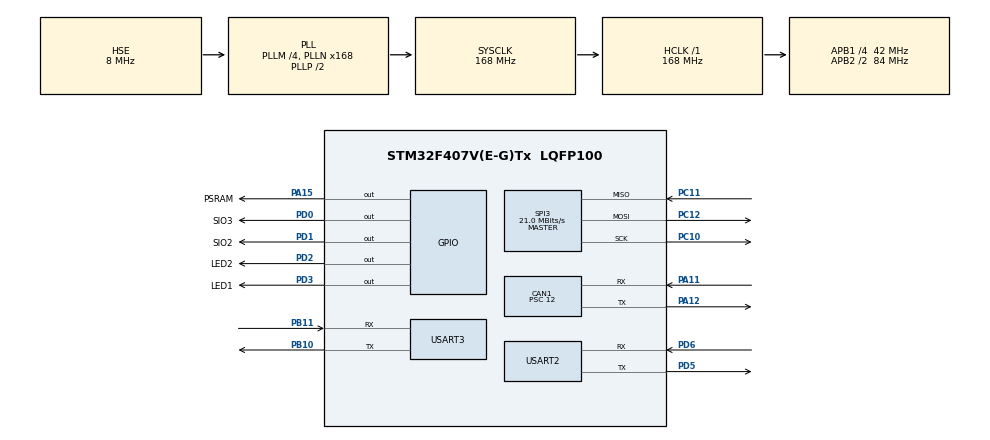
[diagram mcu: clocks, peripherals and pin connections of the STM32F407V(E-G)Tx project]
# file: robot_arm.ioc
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CAN1.ABOM=ENABLE
CAN1.BS1=CAN_BS1_11TQ
CAN1.BS2=CAN_BS2_2TQ
CAN1.CalculateBaudRate=250000
CAN1.CalculateTimeBit=4000
CAN1.CalculateTimeQuantum=285.7142857142857
CAN1.NART=ENABLE
CAN1.Prescaler=12
Dma.Request0=USART2_RX
Dma.USART2_RX.0.Direction=DMA_PERIPH_TO_MEMORY
Dma.USART2_RX.0.FIFOMode=DMA_FIFOMODE_DISABLE
Dma.USART2_RX.0.Instance=DMA1_Stream5
Dma.USART2_RX.0.MemDataAlignment=DMA_MDATAALIGN_BYTE
Dma.USART2_RX.0.MemInc=DMA_MINC_ENABLE
Dma.USART2_RX.0.Mode=DMA_NORMAL
Dma.USART2_RX.0.PeriphDataAlignment=DMA_PDATAALIGN_BYTE
Dma.USART2_RX.0.PeriphInc=DMA_PINC_DISABLE
Dma.USART2_RX.0.Priority=DMA_PRIORITY_MEDIUM
FREERTOS.BinarySemaphores01=servo_rx_sem,Dynamic,NULL,Available
FREERTOS.Queues01=CMD_Queue,16,CmdMsg_t,0,Dynamic,NULL,NULL;Status_Queue,16,ServoMsg_t,0,Dynamic,NULL,NULL
FREERTOS.Tasks01=defaultTask,24,128,StartDefaultTask,Default,NULL,Dynamic,NULL,NULL;led_running_tas,8,128,led_running,Default,NULL,Dynamic,NULL,NULL;CAN_Rx_Task,51,512,CAN_Rx_task,Default,NULL,Dynamic,NULL,NULL;CAN_Tx_Task,50,512,CAN_Tx_task,Default,NULL,Dynamic,NULL,NULL;UART_Task,49,512,UART_task,Default,NULL,Dynamic,NULL,NULL
Mcu.Family=STM32F4
Mcu.Name=STM32F407V(E-G)Tx
Mcu.Package=LQFP100
NVIC.CAN1_RX0_IRQn=true\:5\:0\:false\:false\:true\:true\:true\:true\:true
NVIC.DMA1_Stream5_IRQn=true\:5\:0\:false\:false\:true\:true\:false\:true\:true
NVIC.PriorityGroup=NVIC_PRIORITYGROUP_4
NVIC.TIM6_DAC_IRQn=true\:15\:0\:false\:false\:true\:false\:false\:true\:true
NVIC.TimeBase=TIM6_DAC_IRQn
NVIC.TimeBaseIP=TIM6
NVIC.USART2_IRQn=true\:5\:0\:false\:false\:true\:true\:true\:true\:true
NVIC.USART3_IRQn=true\:5\:0\:false\:false\:true\:true\:true\:true\:true
PA11.Mode=CAN_Activate
PA11.Signal=CAN1_RX
PA12.Mode=CAN_Activate
PA12.Signal=CAN1_TX
PA13.Mode=Serial_Wire
PA13.Signal=SYS_JTMS-SWDIO
PA14.Mode=Serial_Wire
PA14.Signal=SYS_JTCK-SWCLK
PA15.GPIO_Label=PSRAM
PA15.GPIO_PuPd=GPIO_PULLUP
PA15.GPIO_Speed=GPIO_SPEED_FREQ_VERY_HIGH
PA15.Signal=GPIO_Output
PB10.Mode=Asynchronous
PB10.Signal=USART3_TX
PB11.Mode=Asynchronous
PB11.Signal=USART3_RX
PC10.Mode=Full_Duplex_Master
PC10.Signal=SPI3_SCK
PC11.GPIO_PuPd=GPIO_NOPULL
PC11.Mode=Full_Duplex_Master
PC11.Signal=SPI3_MISO
PC12.GPIO_PuPd=GPIO_NOPULL
PC12.Mode=Full_Duplex_Master
PC12.Signal=SPI3_MOSI
PD0.GPIO_Label=SIO3
PD0.GPIO_PuPd=GPIO_PULLUP
PD0.PinState=GPIO_PIN_SET
PD0.Signal=GPIO_Output
PD1.GPIO_Label=SIO2
PD1.GPIO_PuPd=GPIO_PULLUP
PD1.PinState=GPIO_PIN_SET
PD1.Signal=GPIO_Output
PD2.GPIO_Label=LED2
PD2.GPIO_PuPd=GPIO_PULLUP
PD2.PinState=GPIO_PIN_RESET
PD2.Signal=GPIO_Output
PD3.GPIO_Label=LED1
PD3.GPIO_PuPd=GPIO_PULLUP
PD3.PinState=GPIO_PIN_SET
PD3.Signal=GPIO_Output
PD5.GPIO_PuPd=GPIO_PULLUP
PD5.Mode=Asynchronous
PD5.Signal=USART2_TX
PD6.Mode=Asynchronous
PD6.Signal=USART2_RX
PH0-OSC_IN.Mode=HSE-External-Oscillator
PH0-OSC_IN.Signal=RCC_OSC_IN
PH1-OSC_OUT.Mode=HSE-External-Oscillator
PH1-OSC_OUT.Signal=RCC_OSC_OUT
ProjectManager.HeapSize=0x200
ProjectManager.StackSize=0x400
ProjectManager.TargetToolchain=CMake
RCC.48MHZClocksFreq_Value=84000000
RCC.AHBFreq_Value=168000000
RCC.APB1CLKDivider=RCC_HCLK_DIV4
RCC.APB1Freq_Value=42000000
RCC.APB1TimFreq_Value=84000000
RCC.APB2CLKDivider=RCC_HCLK_DIV2
RCC.APB2Freq_Value=84000000
RCC.APB2TimFreq_Value=168000000
RCC.CortexFreq_Value=168000000
RCC.HCLKFreq_Value=168000000
RCC.HSE_VALUE=8000000
RCC.HSI_VALUE=16000000
RCC.LSE_VALUE=32768
RCC.PLLM=4
RCC.PLLN=168
RCC.PLLSourceVirtual=RCC_PLLSOURCE_HSE
RCC.SYSCLKFreq_VALUE=168000000
RCC.SYSCLKSource=RCC_SYSCLKSOURCE_PLLCLK
RCC.VCOOutputFreq_Value=336000000
SPI3.BaudRatePrescaler=SPI_BAUDRATEPRESCALER_2
SPI3.CalculateBaudRate=21.0 MBits/s
SPI3.Direction=SPI_DIRECTION_2LINES
SPI3.Mode=SPI_MODE_MASTER
SPI3.VirtualType=VM_MASTER
USART2.VirtualMode=VM_ASYNC
USART3.VirtualMode=VM_ASYNC
VP_FREERTOS_VS_CMSIS_V2.Mode=CMSIS_V2
VP_SYS_VS_tim6.Mode=TIM6
board=custom

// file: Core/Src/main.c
/* USER CODE BEGIN Header */
/**
  ******************************************************************************
  * @file           : main.c
  * @brief          : Main program body
  ******************************************************************************
  * @attention
  *
  * Copyright (c) 2026 STMicroelectronics.
  * All rights reserved.
  *
  * This software is licensed under terms that can be found in the LICENSE file
  * in the root directory of this software component.
  * If no LICENSE file comes with this software, it is provided AS-IS.
  *
  ******************************************************************************
  */
/* USER CODE END Header */
#include "main.h"
#include "cmsis_os.h"
#include "can.h"
#include "dma.h"
#include "spi.h"
#include "usart.h"
#include "gpio.h"

/* USER CODE BEGIN Includes */
#include <string.h>
#include <stdio.h>
#include "robot_arm.h"
#include "aps6404.h"
/* USER CODE END Includes */

void SystemClock_Config(void);
void MX_FREERTOS_Init(void);

int main(void)
{

  /* MCU Configuration--------------------------------------------------------*/

  /* Reset of all peripherals, Initializes the Flash interface and the Systick. */
  HAL_Init();

  /* Configure the system clock */
  SystemClock_Config();

  /* Initialize all configured peripherals */
  MX_GPIO_Init();
  MX_DMA_Init();
  MX_CAN1_Init();
  MX_USART3_UART_Init();
  MX_USART2_UART_Init();
  MX_SPI3_Init();
  /* USER CODE BEGIN 2 */
  if (CAN_Init() != HAL_OK)
  {
      Error_Handler();
  }

  robot_arm_init();
  HAL_Delay(2000);

  /* USER CODE END 2 */

  /* Init scheduler */
  osKernelInitialize();  /* Call init function for freertos objects (in cmsis_os2.c) */
  MX_FREERTOS_Init();

  /* Start scheduler */
  osKernelStart();

  /* We should never get here as control is now taken by the scheduler */

  /* Infinite loop */
  while (1)
  {

    /* USER CODE BEGIN 3 */

    HAL_Delay(1000);
  }
  /* USER CODE END 3 */
}

void SystemClock_Config(void)
{
  RCC_OscInitTypeDef RCC_OscInitStruct = {0};
  RCC_ClkInitTypeDef RCC_ClkInitStruct = {0};

  /** Configure the main internal regulator output voltage
  */
  __HAL_RCC_PWR_CLK_ENABLE();
  __HAL_PWR_VOLTAGESCALING_CONFIG(PWR_REGULATOR_VOLTAGE_SCALE1);

  /** Initializes the RCC Oscillators according to the specified parameters
  * in the RCC_OscInitTypeDef structure.
  */
  RCC_OscInitStruct.OscillatorType = RCC_OSCILLATORTYPE_HSE;
  RCC_OscInitStruct.HSEState = RCC_HSE_ON;
  RCC_OscInitStruct.PLL.PLLState = RCC_PLL_ON;
  RCC_OscInitStruct.PLL.PLLSource = RCC_PLLSOURCE_HSE;
  RCC_OscInitStruct.PLL.PLLM = 4;
  RCC_OscInitStruct.PLL.PLLN = 168;
  RCC_OscInitStruct.PLL.PLLP = RCC_PLLP_DIV2;
  RCC_OscInitStruct.PLL.PLLQ = 4;
  if (HAL_RCC_OscConfig(&RCC_OscInitStruct) != HAL_OK)
  {
    Error_Handler();
  }

  /** Initializes the CPU, AHB and APB buses clocks
  */
  RCC_ClkInitStruct.ClockType = RCC_CLOCKTYPE_HCLK|RCC_CLOCKTYPE_SYSCLK
                              |RCC_CLOCKTYPE_PCLK1|RCC_CLOCKTYPE_PCLK2;
  RCC_ClkInitStruct.SYSCLKSource = RCC_SYSCLKSOURCE_PLLCLK;
  RCC_ClkInitStruct.AHBCLKDivider = RCC_SYSCLK_DIV1;
  RCC_ClkInitStruct.APB1CLKDivider = RCC_HCLK_DIV4;
  RCC_ClkInitStruct.APB2CLKDivider = RCC_HCLK_DIV2;

  if (HAL_RCC_ClockConfig(&RCC_ClkInitStruct, FLASH_LATENCY_5) != HAL_OK)
  {
    Error_Handler();
  }
}

void HAL_TIM_PeriodElapsedCallback(TIM_HandleTypeDef *htim)
{
  if (htim->Instance == TIM6)
  {
    HAL_IncTick();
  }
}

void Error_Handler(void)
{
  __disable_irq();
  while (1)
  {
  }
}

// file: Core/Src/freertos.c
/* USER CODE BEGIN Header */
/**
  ******************************************************************************
  * File Name          : freertos.c
  * Description        : Code for freertos applications
  ******************************************************************************
  * @attention
  *
  * Copyright (c) 2026 STMicroelectronics.
  * All rights reserved.
  *
  * This software is licensed under terms that can be found in the LICENSE file
  * in the root directory of this software component.
  * If no LICENSE file comes with this software, it is provided AS-IS.
  *
  ******************************************************************************
  */
/* USER CODE END Header */

#include "FreeRTOS.h"
#include "task.h"
#include "main.h"
#include "cmsis_os.h"

/* USER CODE BEGIN Includes */
#include "can.h"
#include "robot_arm.h"
#include <stdio.h>
#include <stdlib.h>
#include <string.h>
/* USER CODE END Includes */

/* Definitions for defaultTask */
osThreadId_t defaultTaskHandle;
const osThreadAttr_t defaultTask_attributes = {
  .name = "defaultTask",
  .stack_size = 128 * 4,
  .priority = (osPriority_t) osPriorityNormal,
};
/* Definitions for led_running_tas */
osThreadId_t led_running_tasHandle;
const osThreadAttr_t led_running_tas_attributes = {
  .name = "led_running_tas",
  .stack_size = 128 * 4,
  .priority = (osPriority_t) osPriorityLow,
};
/* Definitions for CAN_Rx_Task */
osThreadId_t CAN_Rx_TaskHandle;
const osThreadAttr_t CAN_Rx_Task_attributes = {
  .name = "CAN_Rx_Task",
  .stack_size = 512 * 4,
  .priority = (osPriority_t) osPriorityRealtime3,
};
/* Definitions for CAN_Tx_Task */
osThreadId_t CAN_Tx_TaskHandle;
const osThreadAttr_t CAN_Tx_Task_attributes = {
  .name = "CAN_Tx_Task",
  .stack_size = 512 * 4,
  .priority = (osPriority_t) osPriorityRealtime2,
};
/* Definitions for UART_Task */
osThreadId_t UART_TaskHandle;
const osThreadAttr_t UART_Task_attributes = {
  .name = "UART_Task",
  .stack_size = 512 * 4,
  .priority = (osPriority_t) osPriorityRealtime1,
};
/* Definitions for CMD_Queue */
osMessageQueueId_t CMD_QueueHandle;
const osMessageQueueAttr_t CMD_Queue_attributes = {
  .name = "CMD_Queue"
};
/* Definitions for Status_Queue */
osMessageQueueId_t Status_QueueHandle;
const osMessageQueueAttr_t Status_Queue_attributes = {
  .name = "Status_Queue"
};
/* Definitions for servo_rx_sem */
osSemaphoreId_t servo_rx_semHandle;
const osSemaphoreAttr_t servo_rx_sem_attributes = {
  .name = "servo_rx_sem"
};

void StartDefaultTask(void *argument);
void led_running(void *argument);
void CAN_Rx_task(void *argument);
void CAN_Tx_task(void *argument);
void UART_task(void *argument);

void MX_FREERTOS_Init(void); /* (MISRA C 2004 rule 8.1) */

void MX_FREERTOS_Init(void) {

  /* Create the semaphores(s) */
  /* creation of servo_rx_sem */
  servo_rx_semHandle = osSemaphoreNew(1, 1, &servo_rx_sem_attributes);

  /* USER CODE BEGIN RTOS_SEMAPHORES */
  /* add semaphores, ... */
  while (osSemaphoreAcquire(servo_rx_semHandle, 0) == osOK) { }
  /* USER CODE END RTOS_SEMAPHORES */

  /* Create the queue(s) */
  /* creation of CMD_Queue */
  CMD_QueueHandle = osMessageQueueNew (16, sizeof(CmdMsg_t), &CMD_Queue_attributes);

  /* creation of Status_Queue */
  Status_QueueHandle = osMessageQueueNew (16, sizeof(ServoMsg_t), &Status_Queue_attributes);

  /* Create the thread(s) */
  /* creation of defaultTask */
  defaultTaskHandle = osThreadNew(StartDefaultTask, NULL, &defaultTask_attributes);

  /* creation of led_running_tas */
  led_running_tasHandle = osThreadNew(led_running, NULL, &led_running_tas_attributes);

  /* creation of CAN_Rx_Task */
  CAN_Rx_TaskHandle = osThreadNew(CAN_Rx_task, NULL, &CAN_Rx_Task_attributes);

  /* creation of CAN_Tx_Task */
  CAN_Tx_TaskHandle = osThreadNew(CAN_Tx_task, NULL, &CAN_Tx_Task_attributes);

  /* creation of UART_Task */
  UART_TaskHandle = osThreadNew(UART_task, NULL, &UART_Task_attributes);

}

void StartDefaultTask(void *argument)
{
  for(;;)
  {
    osDelay(1);
  }
}

void led_running(void *argument)
{
  /* USER CODE BEGIN led_running */
  /* Infinite loop */
  for(;;)
  {
    HAL_GPIO_TogglePin(LED1_GPIO_Port,LED1_Pin);
    osDelay(300);
  }
  /* USER CODE END led_running */
}

void CAN_Rx_task(void *argument)
{
  /* USER CODE BEGIN CAN_Rx_task */
  CAN_Frame_t frame;
  CmdMsg_t cmd;
  /* Infinite loop */
  for(;;)
  {
    if(CAN_GetRxFrame(&frame) == 0){
      osDelay(1);
      continue;
    }
    if(frame.id != CAN_ID_CMD_DOWN) continue;

    if(frame.len < 6)continue;

    if(frame.data[0] > SEVRO_NUMBER) continue;

    cmd.id  = frame.data[0];
    cmd.ask = frame.data[1];
    cmd.target_pos = (uint16_t)(frame.data[2] | (frame.data[3] << 8));
    cmd.time       = (uint16_t)(frame.data[4] | (frame.data[5] << 8));

    if (osMessageQueuePut(CMD_QueueHandle, &cmd, 0U, 0U) != osOK)
    {
      //cmd_drop++;
    }

  }
  /* USER CODE END CAN_Rx_task */
}

void CAN_Tx_task(void *argument)
{
  /* USER CODE BEGIN CAN_Tx_task */
  ServoMsg_t *st = malloc(sizeof(ServoMsg_t));
  uint8_t pkg[8];
  /* Infinite loop */
  for(;;)
  {
    if(osMessageQueueGet(Status_QueueHandle,st,NULL,portMAX_DELAY) == osOK){

      memset(pkg,0,sizeof(pkg));
      CAN_Servo_status_send_pkg(st,pkg);
      CAN_Send(GETANGLE,(uint8_t*)pkg,8);

    }
    osDelay(1);
  }
  /* USER CODE END CAN_Tx_task */
}

/* USER CODE BEGIN Header_UART_task */
#define SEVRO_NUMBER 5

static uint8_t  temp_div = 0;
static double   last_temp[SEVRO_NUMBER + 1] = {0};
static double   last_volt[SEVRO_NUMBER + 1] = {0};
/**
* @brief Function implementing the UART_Task thread.
* @param argument: Not used
* @retval None
*/
/* USER CODE END Header_UART_task */
void UART_task(void *argument)
{
  /* USER CODE BEGIN UART_task */
  ServoMsg_t *st = malloc(sizeof(ServoMsg_t));
  CmdMsg_t cmd;
  double _temp_v[2];
  memset(_temp_v,0,sizeof(_temp_v));
  static uint32_t quiet_until = 0;
  Servo_cache_init();
  /* Infinite loop */
  for(;;)
  {
    if(osMessageQueueGet(CMD_QueueHandle,&cmd,NULL,portMAX_DELAY) == osOK){
      switch(cmd.ask){
        case ASKFORSETPOS:{
          Servo_position_set(cmd.id,cmd.target_pos,cmd.time);
          quiet_until = osKernelGetTickCount() + 300U;
          break;
        }
        case ASKFORSTATUS:{
            st->id = cmd.id;

            if ((int32_t)(quiet_until - osKernelGetTickCount()) > 0) {
                uint16_t p = 0;
                Servo_cached_get(cmd.id, _temp_v, &p);
                st->cur_pos = p;
                st->temp    = _temp_v[0];
                st->volt    = _temp_v[1];
            } else {
                /* 位置每次都读（只要 ~5ms） */
                st->cur_pos = Servo_position_get(cmd.id);

                /* ★ 温度/电压每 20 次才读一次（各 ~5ms，省下 90% 阻塞） */
                if (++temp_div >= 20) {
                    temp_div = 0;
                    Servo_temp_and_v_get(cmd.id, _temp_v);
                    last_temp[cmd.id] = _temp_v[0];
                    last_volt[cmd.id] = _temp_v[1];
                }
                st->temp = last_temp[cmd.id];
                st->volt = last_volt[cmd.id];
            }

            osMessageQueuePut(Status_QueueHandle, st, 0, 0);
            break;
        }
        case ASKFORALL:{
          Servo_position_set(cmd.id,cmd.target_pos,cmd.time);
          quiet_until = osKernelGetTickCount() + 300U;
          {
            uint16_t p = 0;
            Servo_cached_get(cmd.id, _temp_v, &p);
            st->temp    = _temp_v[0];
            st->volt    = _temp_v[1];
            st->cur_pos = p;
          }
          osMessageQueuePut(Status_QueueHandle,st,0,0);
          break;
        }
        default : break;
      }
      osDelay(1);
      continue;
    }

    osDelay(1);
  }
  /* USER CODE END UART_task */
}
